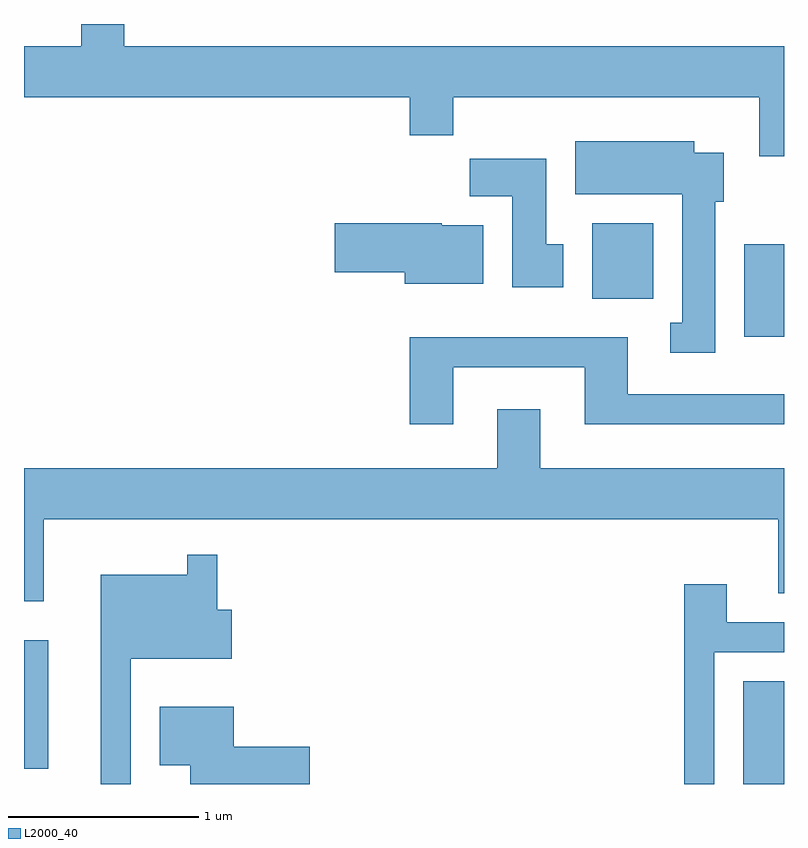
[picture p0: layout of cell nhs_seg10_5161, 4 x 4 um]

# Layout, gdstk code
import gdstk
lib = gdstk.Library(unit=1e-6, precision=1e-09)
def R(c, l, rs):  # rectangles x0, y0, x1, y1
    for r in rs: c.add(gdstk.rectangle(r[:2], r[2:], *l))
def P(c, l, *ps):  # polygons
    for p in ps: c.add(gdstk.Polygon(p, *l))
L2000_40 = (2000, 40)

nhs_seg10_5161 = lib.new_cell('nhs_seg10_5161')
R(nhs_seg10_5161, L2000_40, [(341.396,2112.522,341.611,2113.064), (337.611,2112.601,337.739,2113.279), (341.401,2114.876,341.611,2115.364), (340.601,2115.076,340.924,2115.474)])
P(nhs_seg10_5161, L2000_40, [(341.611,2116.404),(338.139,2116.404),(338.139,2116.522),(337.911,2116.522),(337.911,2116.404),(337.611,2116.404),(337.611,2116.136),(339.641,2116.136),(339.641,2115.936),(339.869,2115.936),(339.869,2116.136),(341.481,2116.136),(341.481,2115.826),(341.611,2115.826)],
  [(341.249,2115.586),(341.294,2115.586),(341.294,2115.844),(341.139,2115.844),(341.139,2115.904),(340.511,2115.904),(340.511,2115.626),(341.076,2115.626),(341.076,2114.949),(341.013,2114.949),(341.013,2114.791),(341.249,2114.791)],
  [(340.449,2115.364),(340.359,2115.364),(340.359,2115.814),(339.956,2115.814),(339.956,2115.616),(340.181,2115.616),(340.181,2115.136),(340.449,2115.136)],
  [(340.029,2115.464),(339.81,2115.464),(339.81,2115.474),(339.246,2115.474),(339.246,2115.216),(339.616,2115.216),(339.616,2115.156),(340.029,2115.156)],
  [(339.869,2114.716),(340.561,2114.716),(340.561,2114.416),(341.611,2114.416),(341.611,2114.574),(340.789,2114.574),(340.789,2114.874),(339.641,2114.874),(339.641,2114.416),(339.869,2114.416)],
  [(337.714,2113.916),(341.581,2113.916),(341.581,2113.526),(341.611,2113.526),(341.611,2114.184),(340.329,2114.184),(340.329,2114.494),(340.101,2114.494),(340.101,2114.184),(337.611,2114.184),(337.611,2113.483),(337.714,2113.483)],
  [(338.174,2113.181),(338.704,2113.181),(338.704,2113.439),(338.629,2113.439),(338.629,2113.728),(338.471,2113.728),(338.471,2113.624),(338.016,2113.624),(338.016,2112.522),(338.174,2112.522)],
  [(341.244,2113.216),(341.611,2113.216),(341.611,2113.374),(341.309,2113.374),(341.309,2113.574),(341.086,2113.574),(341.086,2112.522),(341.244,2112.522)],
  [(339.114,2112.719),(338.714,2112.719),(338.714,2112.929),(338.326,2112.929),(338.326,2112.621),(338.486,2112.621),(338.486,2112.522),(339.114,2112.522)])

lib.write_gds('nhs_seg10_5161.gds')
